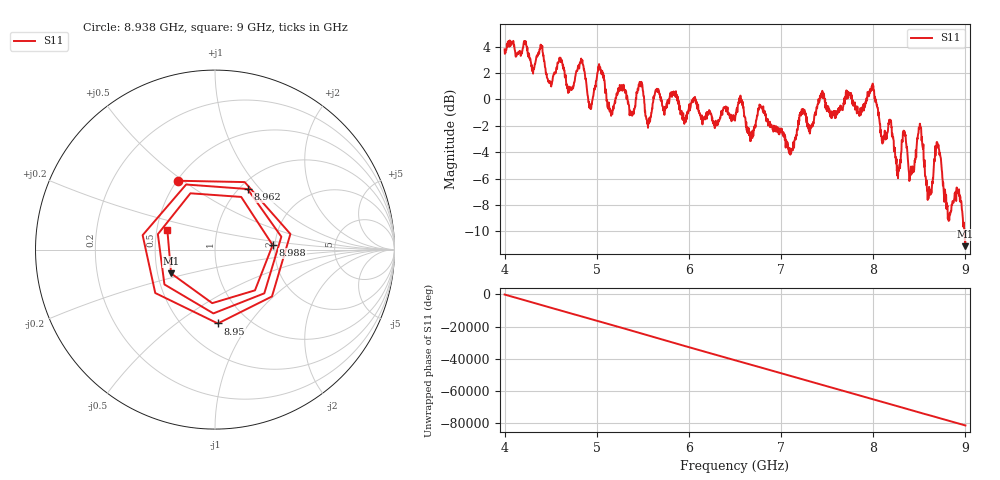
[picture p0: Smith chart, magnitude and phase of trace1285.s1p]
! Created with skrf 1.8.0 (http://scikit-rf.org).
# Hz S RI R 50.0
!freq ReS11 ImS11
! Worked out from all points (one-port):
!   1601 points, 4 GHz to 9 GHz, reference 50 ohm
!   lowest |S11| = -11.1 dB at 8.997 GHz (marker M1), VSWR 1.77, Z = 29.4 - j8.46 ohm
!   |S11| at or under -10 dB: 8.991269 GHz to end of sweep
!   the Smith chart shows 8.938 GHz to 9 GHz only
!   S11 on the Smith chart (normalised r, x): 8.938 GHz: 0.51, +0.48; 8.95 GHz: 0.73, -0.72; 8.962 GHz: 1.09, +0.86; 8.988 GHz: 1.94, +0.11; 9 GHz: 0.57, +0.14
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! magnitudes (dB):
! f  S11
! 4 GHz  3.8
! 4.625 GHz  2.7
! 4.841 GHz  2.9
! 4.931 GHz  -0.7
! 5.034 GHz  2.4
! 5.15 GHz  -0.9
! 5.25 GHz  1.1
! 5.381 GHz  -0.9
! 5.478 GHz  1.1
! 5.556 GHz  -2.1
! 5.875 GHz  -0.1
! 6.5 GHz  -1.6
! 7.125 GHz  -3.8
! 7.228 GHz  -0.8
! 7.75 GHz  0.3
! 7.988 GHz  0.8
! 8.266 GHz  -5.5
! 8.375 GHz  -4.4
! 8.503 GHz  -2.1
! 8.606 GHz  -6.6
! 8.697 GHz  -3.3
! 8.819 GHz  -9.2
! 8.938 GHz  -7.2
! 8.95 GHz  -7.7
! 8.962 GHz  -8.3
! 8.988 GHz  -9.8
! 8.997 GHz  -11.1
! 9 GHz  -10.8
